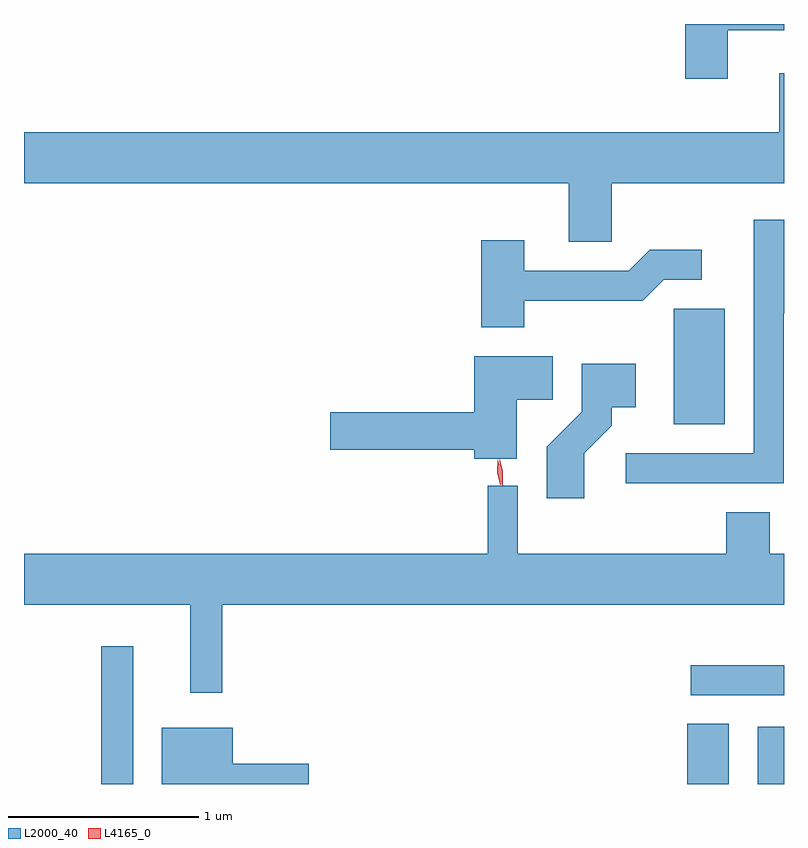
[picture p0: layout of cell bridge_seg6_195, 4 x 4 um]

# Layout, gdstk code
import gdstk
lib = gdstk.Library(unit=1e-6, precision=1e-09)
def R(c, l, rs):  # rectangles x0, y0, x1, y1
    for r in rs: c.add(gdstk.rectangle(r[:2], r[2:], *l))
def P(c, l, *ps):  # polygons
    for p in ps: c.add(gdstk.Polygon(p, *l))
L2000_40 = (2000, 40)
L4165_0 = (4165, 0)

bridge_seg6_195 = lib.new_cell('bridge_seg6_195')
R(bridge_seg6_195, L2000_40, [(1023.991,1591.273,1024.159,1591.998), (1027.076,1591.273,1027.294,1591.589), (1027.446,1591.273,1027.585,1591.574), (1027.093,1591.741,1027.585,1591.899), (1027.006,1593.166,1027.274,1593.774)])
P(bridge_seg6_195, L2000_40, [(1027.289,1595.241),(1027.585,1595.241),(1027.585,1595.273),(1027.066,1595.273),(1027.066,1594.986),(1027.289,1594.986)],
  [(1026.679,1594.436),(1027.585,1594.436),(1027.585,1595.014),(1027.561,1595.014),(1027.561,1594.704),(1023.585,1594.704),(1023.585,1594.436),(1026.451,1594.436),(1026.451,1594.126),(1026.679,1594.126)],
  [(1027.584,1593.751),(1027.585,1593.751),(1027.585,1594.244),(1027.426,1594.244),(1027.426,1593.014),(1026.753,1593.014),(1026.753,1592.856),(1027.584,1592.856)],
  [(1026.219,1593.816),(1026.842,1593.816),(1026.952,1593.926),(1027.152,1593.926),(1027.152,1594.084),(1026.879,1594.084),(1026.769,1593.974),(1026.219,1593.974),(1026.219,1594.134),(1025.991,1594.134),(1025.991,1593.676),(1026.219,1593.676)],
  [(1026.179,1593.296),(1026.369,1593.296),(1026.369,1593.524),(1025.956,1593.524),(1025.956,1593.229),(1025.196,1593.229),(1025.196,1593.031),(1025.956,1593.031),(1025.956,1592.986),(1026.179,1592.986)],
  [(1026.534,1593.014),(1026.679,1593.159),(1026.679,1593.256),(1026.804,1593.256),(1026.804,1593.484),(1026.521,1593.484),(1026.521,1593.232),(1026.336,1593.047),(1026.336,1592.776),(1026.534,1592.776)],
  [(1024.629,1592.216),(1027.585,1592.216),(1027.585,1592.484),(1027.509,1592.484),(1027.509,1592.704),(1027.281,1592.704),(1027.281,1592.484),(1026.184,1592.484),(1026.184,1592.843),(1026.026,1592.843),(1026.026,1592.484),(1023.585,1592.484),(1023.585,1592.216),(1024.461,1592.216),(1024.461,1591.753),(1024.629,1591.753)],
  [(1025.084,1591.379),(1024.684,1591.379),(1024.684,1591.569),(1024.311,1591.569),(1024.311,1591.273),(1025.084,1591.273)])
P(bridge_seg6_195, L4165_0, [(1026.103,1592.846),(1026.103,1592.846),(1026.087,1592.914),(1026.089,1592.983),(1026.09,1592.984),(1026.09,1592.983),(1026.106,1592.916),(1026.104,1592.846)],
  [(1026.092,1592.848),(1026.076,1592.913),(1026.078,1592.979),(1026.078,1592.98),(1026.079,1592.979),(1026.096,1592.915),(1026.093,1592.848),(1026.093,1592.848)])

lib.write_gds('bridge_seg6_195.gds')
